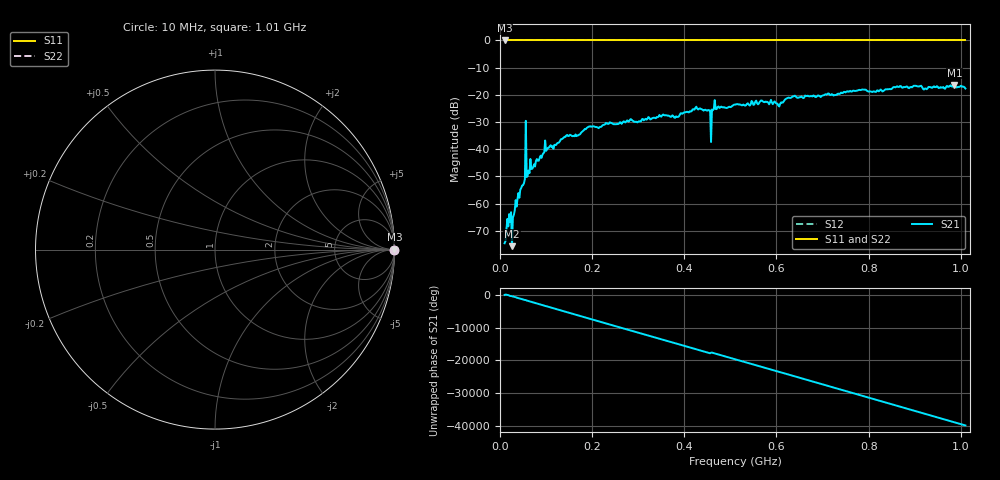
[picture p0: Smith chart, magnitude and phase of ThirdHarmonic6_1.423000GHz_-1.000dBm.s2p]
! 8/16/2025 4:22:35 PM
! C:\ANRITSUVNA\TEMP\TEMP.S2P
! CHANNEL.1
! TR.MEASUREMENT
! RAW.DATA
! RF.CORRECTION.OFF
! AVERAGING.OFF
! IF.BANDWIDTH: 5KHZ
! SWEEPTYPE:  FREQ.SWEEP(Linear)
! Reference Plane Port Info
! PORT:  PORT1  PORT2
! DISTANCE:  0  m  0  m
! TIME:  0  s  0  s
! PHASE.OFFSET:  0  deg.  0  deg.
! LOSS:  0  dB  0  dB
! REF.LOSS:  0  dB  0  dB
! REF.FREQ:  0  Hz  0  Hz
! Power Info
! POWER:  -20  dBm  -20  dBm
! EFF.POWER:  -20  dBm  -20  dBm
! SOURCE.ATTEN:  0  dB  0  dB
! TEST.ATTEN:  0  dB  0  dB
# GHZ S RI R 50.0
! FREQ.GHZ  S11RE  S11IM  S21RE  S21IM  S12RE  S12IM  S22RE  S22IM
!; PortSelection: Port_12
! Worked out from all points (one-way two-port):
!   501 points, 10 MHz to 1.01 GHz, reference 50 ohm
!   highest |S21| = -16.40 dB at 986 MHz (marker M1); lowest = -75.6 dB at 26 MHz (marker M2)
!   lowest |S11| = 0.0 dB at 10 MHz (marker M3)
!   |S11| at or under -10 dB: nowhere
!   |S22| runs from 0.0 to 0.0 dB; largest |S21 - S12| = 1.1
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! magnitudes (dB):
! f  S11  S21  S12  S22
! 10 MHz  0.0  -74.5  0.0  0.0
! 20 MHz  0.0  -63.8  0.0  0.0
! 26 MHz  0.0  -75.6  0.0  0.0
! 36 MHz  0.0  -61.1  0.0  0.0
! 50 MHz  0.0  -53.2  0.0  0.0
! 52 MHz  0.0  -52.5  0.0  0.0
! 60 MHz  0.0  -49.7  0.0  0.0
! 62 MHz  0.0  -47.8  0.0  0.0
! 102 MHz  0.0  -40.1  0.0  0.0
! 178 MHz  0.0  -33.6  0.0  0.0
! 344 MHz  0.0  -28.0  0.0  0.0
! 382 MHz  0.0  -27.9  0.0  0.0
! 428 MHz  0.0  -25.1  0.0  0.0
! 452 MHz  0.0  -25.6  0.0  0.0
! 458 MHz  0.0  -37.3  0.0  0.0
! 464 MHz  0.0  -25.2  0.0  0.0
! 510 MHz  0.0  -23.6  0.0  0.0
! 604 MHz  0.0  -23.9  0.0  0.0
! 678 MHz  0.0  -20.6  0.0  0.0
! 844 MHz  0.0  -17.9  0.0  0.0
! 986 MHz  0.0  -16.4  0.0  0.0
! 1.01 GHz  0.0  -17.7  0.0  0.0
